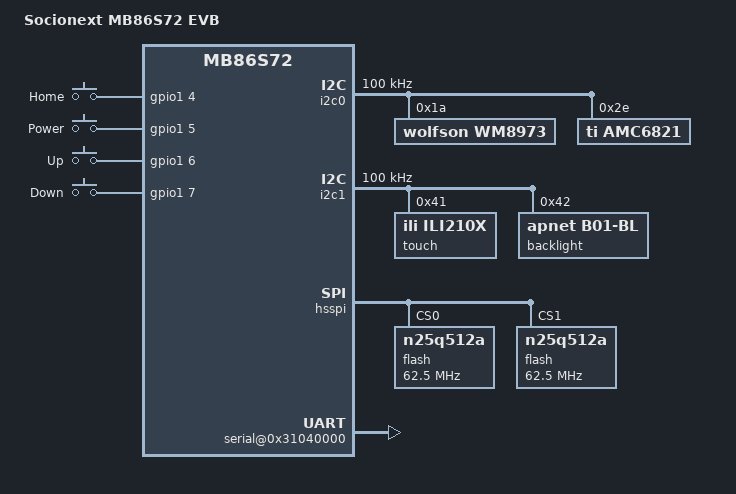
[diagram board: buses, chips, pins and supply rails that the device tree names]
/*
 * Copyright (C) 2014-2015 Linaro, LTD for FUJITSU SEMICONDUCTOR LIMITED
 * Copyright (C) 2015-2016 Socionext Inc.
 *
 * This program is free software; you can redistribute it and/or modify
 * it under the terms of the GNU General Public License version 2 as
 * published by the Free Software Foundation.
 */

/dts-v1/;
#include <dt-bindings/gpio/gpio.h>
#include <dt-bindings/thermal/thermal.h>

#include "mb86s72.dtsi"

/ {
	model = "Socionext MB86S72 EVB";
	compatible = "fujitsu,mb86s72eb","fujitsu,mb86s72";

	memory {
		device_type = "memory";
		reg = <0 0x80000000 0x40000000>;
	};

	chosen {
		bootargs = "shm_offset=2048 loglevel=4 console=ttyAMA0,115200 root=/dev/mmcblk1p1 rootfstype=ext4 rootwait rw pcie_ports=native ";

		linux,initrd-start = <0x88000000>;
		linux,initrd-end =   <0x88800000>;
		/* Backward compatibility for 2016.03-1-1 */
		/* linux,initrd-start = <0xc0000000>; */
		/* linux,initrd-end =   <0xc0800000>; */
	};

	gpio0: mb86s70_gpio0 {
		compatible = "fujitsu,mb86s70-gpio";
		reg = <0 0x31000000 0x10000>;
		gpio-controller;
		#gpio-cells = <2>;
		clocks = <&clk_alw_5_8>;
		base = <0>;
		resume_function_enabled = <24>, <25> , <26>, <27>, <28>, <29>,
			<30>, <31>;
		power-domains = <&power 1>;
	};
	gpio1: mb86s70_gpio1 {
		compatible = "fujitsu,mb86s70-gpio";
		reg = <0 0x31010000 0x10000>;
		gpio-controller;
		#gpio-cells = <2>;
		clocks = <&clk_alw_5_8>;
		base = <32>;
		resume_function_enabled = <36>, <37>, <38>, <39>;
		power-domains = <&power 1>;
       };

	gpio-keys {
		compatible = "gpio-keys-polled";
		poll-interval = <20>;

		home {
			label = "Home";
			gpios = <&gpio1 4 GPIO_ACTIVE_HIGH>;
			linux,code = <102>;
			gpio-key;
		};
		power {
			label = "Power";
			gpios = <&gpio1 5 GPIO_ACTIVE_HIGH>;
			linux,code = <28>;
			gpio-key;
		};
		up {
			label = "Up";
			gpios = <&gpio1 6 GPIO_ACTIVE_HIGH>;
			linux,code = <103>;
			gpio-key;
		};
		down {
			label = "Down";
			gpios = <&gpio1 7 GPIO_ACTIVE_HIGH>;
			linux,code = <108>;
			gpio-key;
		};
	};

	videomodes@0 {
		compatible = "video-modes";
		mode0: mode@0 {
			mode  = "800x480x32bpp";
			hactive = <800>; /* htotal 928 (+128) */
			vactive = <480>; /* Vtotal 525 (+95) */
			hback-porch = <96>;
			hfront-porch = <1>;
			hsync-len = <31>;
			vback-porch = <37>;
			vfront-porch = <55>;
			vsync-len = <3>;
			flags = <0x25>; /* h low, v low, de high */
			clock = <32800>; /* 32.8MHz link clock */
			bpp = <32>;
			width-mm = <163>;
			height-mm = <92>;
			/* scanout-rotation = <0>; */
			red_offset      = <16>;
			red_length      = <8>;
			green_offset    = <8>;
			green_length    = <8>;
			blue_offset     = <0>;
			blue_length     = <8>;
			alpha_offset    = <0>;
			alpha_length    = <0>;
		};

		mode1: mode@1 {
			mode  = "800x480x16bpp";
			hactive = <800>; /* htotal 928 (+128) */
			vactive = <480>; /* Vtotal 525 (+95) */
			hback-porch = <96>;
			hfront-porch = <1>;
			hsync-len = <31>;
			vback-porch = <37>;
			vfront-porch = <55>;
			vsync-len = <3>;
			flags = <0x25>; /* h low, v low, de high */
			clock = <32800>; /* 32.8MHz link clock */
			bpp = <16>;
			width-mm = <163>;
			height-mm = <92>;
			/* scanout-rotation = <0>; */
                        red_offset      = <11>;
                        red_length      = <5>;
                        green_offset    = <5>;
                        green_length    = <6>;
                        blue_offset     = <0>;
                        blue_length     = <5>;
                        alpha_offset    = <0>;
                        alpha_length    = <0>;
		}; 
	};

	i2c0 {
		compatible = "fujitsu,f_i2c";
		reg = <0 0x31200000 0x10000>;
		interrupts = <0 312 0x4>;
		#address-cells = <1>;
		#size-cells = <0>;
		clock-frequency = <100000>;
		clocks = <&clk_alw_5_8>;
		power-domains = <&power 1>;

		wm8973: wm8973@1a {
                        compatible = "wolfson,wm8973";
                        reg = <0x1a>;
                };

		/* default to fan always on high, even during suspend */
		amc6821: amc6821@2e {
			status = "ok";
                        compatible = "ti,amc6821";
                        reg = <0x2e>;
			low_temp = <0x10>; // unreasonably low target temp == fan always on high
			pwminv = <1>;      //  1, inverted PWM output
			fan_char = <0x25>;
                };
		/* alternative fan profile: fan responds to temperature + off in suspend */
		amc6821a: amc6821a@2e {
			status = "disabled";
                        compatible = "ti,amc6821";
                        reg = <0x2e>;
			low_temp = <0x41>; // 32 degrees C
			pwminv = <1>;      //  1, inverted PWM output
			fan_char = <0x25>;
			off-in-suspend; // stop fan during suspend
                };

	};

	i2c1 {
		compatible = "fujitsu,f_i2c";

		reg = <0 0x31210000 0x10000>;
		interrupts = <0 313 0x4>;
		#address-cells = <1>;
		#size-cells = <0>;
		clocks = <&clk_alw_5_8>;
		clock-frequency = <100000>;
		power-domains = <&power 1>;

		touch: ili210x@41 {
			compatible = "ili,ili210x", "ili210x";
			reg = <0x41>;
			interrupts = <0 102 0x4>; /* PD54 - EXTINT22 shared */
		};

		backlight: backlight@42 {
			compatible = "apnet,b01-bl";
			reg = <0x42>;
			interrupts = <0 102 0x4>; /* PD54 - EXTINT22 shared */
			key1 = <1>; /* KEY_ESC */
			key2 = <59>; /* KEY_F1 */
			key3 = <240>;  /* KEY_UNKNOWN */
		};

	};

	hsspi: hsspi.0 {
		compatible = "fujitsu,mb86s7x-hsspi";
		reg = <0 0x30010000 0x1000>,
		      <0 0x48000000 0x1000000>;
		interrupts = <0 361 0x4>,
			     <0 360 0x4>,
			     <0 362 0x4>;
		mode = <1>; // HS_SPI_DIRECT_MODE
		read_operation = <1>; // HS_SPI_NORMAL_READ
		write_operation = <5>; // HS_SPI_NORMAL_WRITE
		active_clk_edges;
		bank_size = <0x01000000>;	// 16MB flash bank
		num_chipselect = <2>;
		addr_width = <3>;
		dma_rx_dreq = <0x800000>; // XDDES_TF_DREQ6 !!! GUESSED
		dma_tx_dreq = <0x900000>; // XDDES_TF_DREQ7 !!! GUESSED
		dma_channel = <0>;
		sync_on = <1>;
		clock = <0>; // HS_SPI_HCLK
		clocks = <&clk_alw_1_8>, <&clk_main_6_8>;
		clock-names = "iHCLK", "iPCLK";
		#address-cells = <1>;
	        #size-cells = <0>;

		flash@0 {
			compatible = "n25q512a";
			spi-max-frequency = <62500000>;
			spi-rx-bus-width = <4>;
			spi-tx-bus-width = <4>;
			reg = <0>;
			spi-cpha;
			spi-cpol;
			#address-cells = <1>;
			#size-cells = <1>;

			spipart0@0 {
				label = "scb-spi-firmware";
				reg = <0 0x200000>;
			};
			spipart1@1 {
				label = "spi-romfs";
				reg = <0x200000 0x100000>;
			};
			spipart2@2 {
				label = "spi-user0";
				reg = <0x300000 0xd00000>;
			};
		};

		flash@1 {
			compatible = "n25q512a";
			spi-max-frequency = <62500000>;
			spi-rx-bus-width = <4>;
			spi-tx-bus-width = <4>;
			spi-cpha;
			spi-cpol;
			reg = <1>;

			#address-cells = <1>;
			#size-cells = <1>;

			spipart0@0 {
				label = "spi-user1";
				reg = <0 0x1000000>;
			};
		};
	};

	gpio-flash@xcs4-gpio {
		status = "disabled";
		compatible = "gpio-control-nor";
		reg = <0 0x2a4d0000 0x10000>; /* prmux */
		#address-cells = <1>;
		#size-cells = <1>;
		bank-width = <2>;
		device-width = <2>;
		power-domains = <&power 1>;

		gpios = <&gpio0 30 0>,	/* rdy PD30 */
			 <&gpio0 8 0>, 	/* nce */
			 <&gpio0 10 0>, 	/* noe */
			 <&gpio0 13 0>, 	/* nwe */

			/* 16 data */

			<&gpio0 14 0>,
			<&gpio0 15 0>,
			<&gpio0 16 0>,
			<&gpio0 17 0>,
			<&gpio0 18 0>,
			<&gpio0 19 0>,
			<&gpio0 20 0>,
			<&gpio0 21 0>,
			<&gpio0 22 0>,
			<&gpio0 23 0>,
			<&gpio0 24 0>,
			<&gpio0 25 0>,
			<&gpio0 26 0>,
			<&gpio0 27 0>,
			<&gpio0 28 0>,
			<&gpio0 29 0>,

			/* as many address as we have (22) */

			<&gpio1 0 0>,
			<&gpio1 1 0>,
			<&gpio1 2 0>,
			<&gpio1 3 0>,
			<&gpio1 4 0>,
			<&gpio1 5 0>,
			<&gpio1 6 0>,
			<&gpio1 7 0>,
			<&gpio1 8 0>,
			<&gpio1 9 0>,
			<&gpio1 10 0>,
			<&gpio1 11 0>,
			<&gpio1 12 0>,
			<&gpio1 13 0>,
			<&gpio1 14 0>,
			<&gpio1 15 0>,
			<&gpio1 16 0>,
			<&gpio1 17 0>,
			<&gpio1 18 0>,
			<&gpio1 19 0>,
			<&gpio1 20 0>,
			<&gpio1 21 0>;

		firmware@0 { /* 2MByte firmware region */
			label = "firmware";
			reg = <0 0x200000>;
		};

		romfs@200000 { /* only 8MByte is addressable by gpio */
			label = "romfs";
			reg = <0x200000 0x5e0000>;
		};
		
	};

	flash@XSC4 {
		status = "disabled";
		compatible = "spansion,s29gl128p", "cfi-flash";
		reg = <0 0x40000000 0x01000000>;
		bank-width = <2>;
		device-width = <2>;
		power-domains = <&power 1>;
	};

	/* Enable only UART0 of S73-evb */
	serial@0x31040000 {
		status = "okay";
	};
	serial@0x31050000 {
		status = "disabled";
	};
	serial@0x31060000 {
		status = "disabled";
	};

	timer0: timer0@31080000 {
		#clock-cells = <1>;
		compatible = "arm,sp804";
		reg = <0 0x31080000 0x10000>;
		interrupts = <0 324 4>,
			     <0 325 4>;
		clocks = <&clk_alw_6_8>;
	};

	timer {
		compatible = "arm,armv7-timer";
		clock-frequency = <125000000>;
		interrupts = <1 13 0xf08>, /* PHYS Secure */
			     <1 14 0xf08>; /* PHYS Non-Secure */
	};
};
